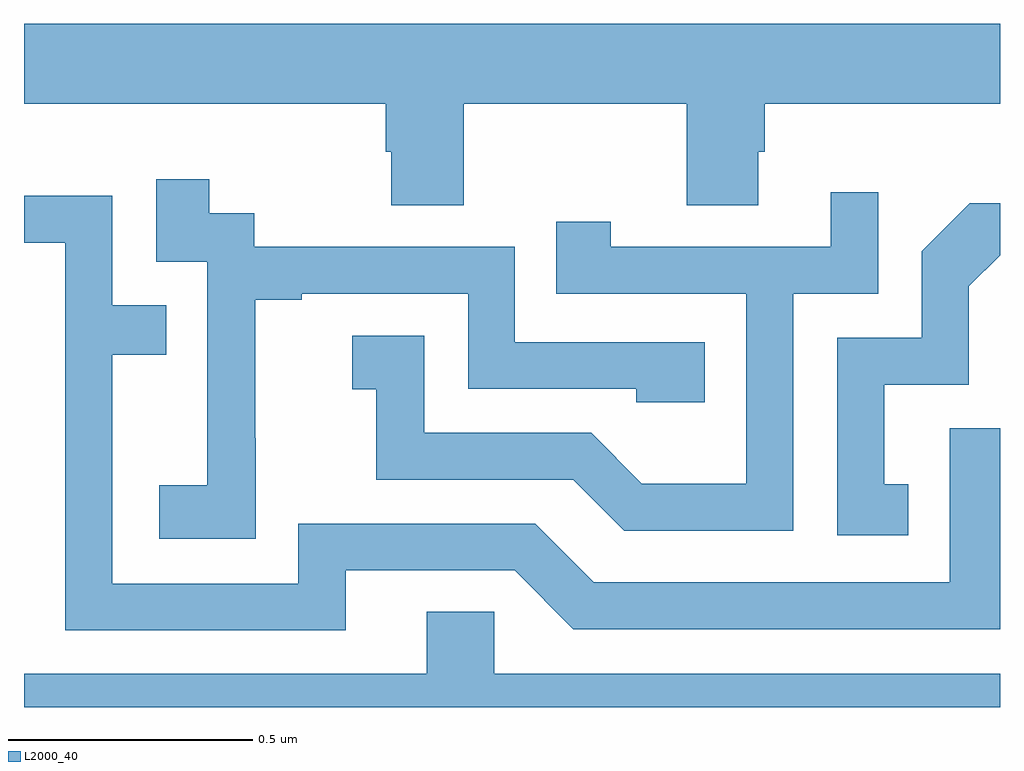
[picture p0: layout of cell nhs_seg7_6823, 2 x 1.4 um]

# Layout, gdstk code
import gdstk
lib = gdstk.Library(unit=1e-6, precision=1e-09)
def P(c, l, *ps):  # polygons
    for p in ps: c.add(gdstk.Polygon(p, *l))
L2000_40 = (2000, 40)

nhs_seg7_6823 = lib.new_cell('nhs_seg7_6823')
P(nhs_seg7_6823, L2000_40, [(203.901,1047.236),(204.358,1047.236),(204.358,1047.028),(204.505,1047.028),(204.505,1047.138),(204.518,1047.138),(204.518,1047.236),(205,1047.236),(205,1047.4),(203,1047.4),(203,1047.236),(203.741,1047.236),(203.741,1047.138),(203.753,1047.138),(203.753,1047.028),(203.901,1047.028)],
  [(203.475,1046.551),(203.474,1046.551),(203.474,1046.835),(203.569,1046.835),(203.569,1046.847),(203.91,1046.847),(203.91,1046.652),(204.255,1046.652),(204.255,1046.625),(204.395,1046.625),(204.395,1046.748),(204.006,1046.748),(204.006,1046.943),(203.472,1046.943),(203.472,1047.012),(203.38,1047.012),(203.38,1047.082),(203.271,1047.082),(203.271,1046.913),(203.376,1046.913),(203.376,1046.684),(203.375,1046.684),(203.375,1046.455),(203.277,1046.455),(203.277,1046.345),(203.475,1046.345)],
  [(204.576,1046.847),(204.75,1046.847),(204.75,1047.055),(204.653,1047.055),(204.653,1046.943),(204.202,1046.943),(204.202,1046.995),(204.091,1046.995),(204.091,1046.847),(204.48,1046.847),(204.48,1046.458),(204.266,1046.458),(204.162,1046.562),(203.82,1046.562),(203.82,1046.761),(203.673,1046.761),(203.673,1046.651),(203.722,1046.651),(203.722,1046.466),(204.125,1046.466),(204.23,1046.361),(204.576,1046.361)],
  [(203.659,1046.28),(204.006,1046.28),(204.126,1046.16),(205,1046.16),(205,1046.571),(204.897,1046.571),(204.897,1046.256),(204.168,1046.256),(204.048,1046.376),(203.562,1046.376),(203.562,1046.253),(203.181,1046.253),(203.181,1046.722),(203.291,1046.722),(203.291,1046.823),(203.181,1046.823),(203.181,1047.048),(203,1047.048),(203,1046.952),(203.085,1046.952),(203.085,1046.157),(203.659,1046.157)],
  [(204.812,1046.457),(204.763,1046.457),(204.763,1046.661),(204.936,1046.661),(204.936,1046.862),(205,1046.926),(205,1047.032),(204.938,1047.032),(204.84,1046.934),(204.84,1046.757),(204.666,1046.757),(204.666,1046.352),(204.812,1046.352)],
  [(205,1046.068),(203.964,1046.068),(203.964,1046.195),(203.825,1046.195),(203.825,1046.068),(203,1046.068),(203,1046),(205,1046)])

lib.write_gds('nhs_seg7_6823.gds')
